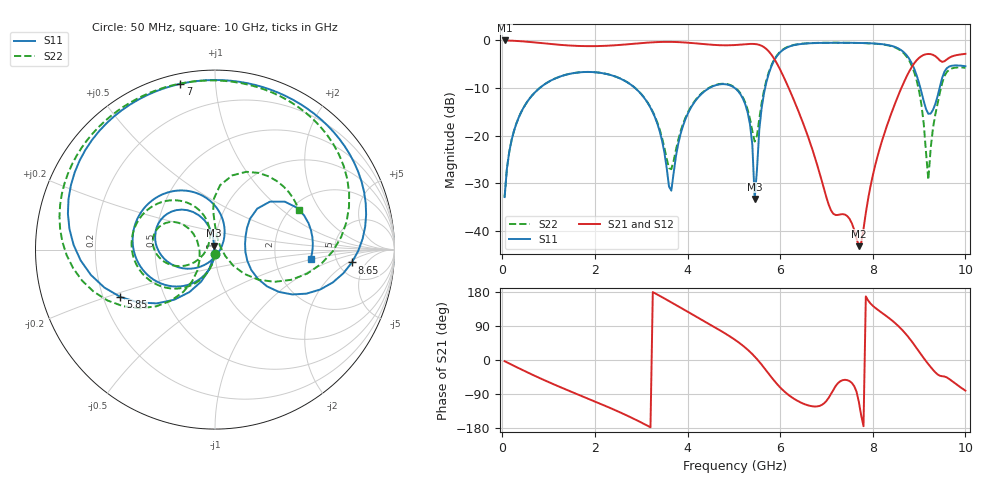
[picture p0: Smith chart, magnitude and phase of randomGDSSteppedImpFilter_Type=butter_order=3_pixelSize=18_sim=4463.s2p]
! freq	dB(S11)	phase(S11)	dB(S12)	phase(S12)
!  dB(S21)	phase(S21)	dB(S22)	phase(S22)
!S-par simulation data
#  GHz  S  DB  R 50
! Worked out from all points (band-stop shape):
!   200 points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, 50 MHz to 10 GHz, reference 50 ohm
!   highest |S21| = -0.01 dB at 50 MHz (marker M1); lowest = -43.2 dB at 7.7 GHz (marker M2)
!   |S21| within 3 dB of the highest: start of sweep to 5.812 GHz; 9.113 GHz to 9.293 GHz (180.3 MHz wide, 1.96 % of centre) (the widest 2 of 3)
!   lowest |S11| = -33.3 dB at 5.45 GHz (marker M3), VSWR 1.04, Z = 49.6 + j2.11 ohm
!   |S11| at or under -10 dB: start of sweep to 806.4 MHz; 2.867 GHz to 4.471 GHz (1.604 GHz wide, 43.7 % of centre); 5.02 GHz to 5.676 GHz (655.7 MHz wide, 12.3 % of centre) (the widest 3 of 4)
!   |S22| runs from -32.9 to -0.5 dB; largest |S21 - S12| = 0
!   S11 on the Smith chart (normalised r, x): 50 MHz: 1.00, -0.05; 5.85 GHz: 0.27, -0.22; 7 GHz: 0.05, +0.81; 8.65 GHz: 6.73, -2.34; 10 GHz: 3.24, -0.45
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0.05  -32.89 -93.2  -0.01 -3.1  -0.01 -3.1  -32.89 -93.0
0.2  -20.96 -103.0  -0.05 -12.3  -0.05 -12.3  -20.95 -102.2
0.5  -13.45 -121.7  -0.24 -30.2  -0.24 -30.2  -13.44 -119.7
1.75  -6.64 168.9  -1.19 -96.9  -1.19 -96.9  -6.64 176.5
3.4  -19.11 61.0  -0.33 169.2  -0.33 169.2  -18.75 105.0
3.65  -31.54 -52.8  -0.31 152.1  -0.31 152.1  -27.04 169.5
4.1  -13.68 -149.8  -0.55 120.6  -0.55 120.6  -13.51 -154.1
5.05  -10.23 134.4  -0.95 51.1  -0.95 51.1  -10.10 151.7
5.35  -17.71 104.3  -0.73 21.5  -0.73 21.5  -16.52 143.7
5.45  -33.29 100.2  -0.75 9.1  -0.75 9.1  -21.24 178.4
5.6  -14.22 -113.4  -1.12 -12.2  -1.12 -12.2  -13.16 -125.7
5.85  -4.59 -153.4  -3.54 -51.4  -3.54 -51.4  -4.41 -148.4
6.15  -1.48 166.3  -9.23 -89.2  -9.23 -89.2  -1.40 177.2
6.7  -0.57 120.3  -23.01 -122.2  -23.01 -122.2  -0.54 136.7
7  -0.50 101.8  -33.00 -107.9  -33.00 -107.9  -0.49 120.2
7.7  -0.53 62.5  -43.20 -110.9  -43.20 -110.9  -0.54 83.9
8.35  -1.01 21.0  -16.67 110.8  -16.67 110.8  -1.08 41.8
8.65  -2.31 -5.4  -9.26 77.5  -9.26 77.5  -2.51 11.9
9  -8.99 -35.2  -3.66 22.1  -3.66 22.1  -10.63 -34.7
9.2  -15.39 -4.5  -2.84 -11.0  -2.84 -11.0  -29.25 36.0
9.5  -7.82 41.1  -4.51 -42.8  -4.51 -42.8  -8.88 85.5
10  -5.41 -5.3  -2.81 -80.8  -2.81 -80.8  -5.75 25.0
